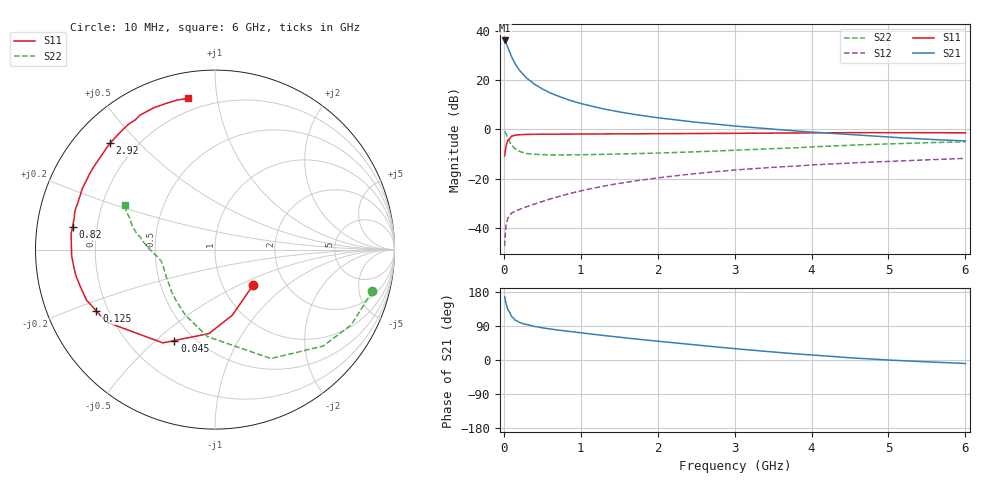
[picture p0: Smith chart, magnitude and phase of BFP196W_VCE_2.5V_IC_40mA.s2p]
! Infineon Technologies  Discrete & RF Semiconductors
! BFP196W
! VCE = 2.5 V,  IC =  40mA
! Common Emitter S-Parameters:  Jan 2016
# GHz  S  MA  R  50
!  f  S11  S21  S12  S22
! GHz  MAG  ANG  MAG  ANG  MAG  ANG  MAG  ANG
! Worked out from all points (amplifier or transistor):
!   210 points, 10 MHz to 6 GHz, reference 50 ohm
!   highest |S21| = 36.2 dB at 10 MHz (marker M1)
!   |S21| within 3 dB of that: start of sweep to 54.15 MHz
!   unconditionally stable (mu >= 1): 674.1 MHz to 3.351 GHz
!   at 185 MHz: K = 0.51, MSG = 28.9 dB, |S12| = -32.8 dB
!   at 1.52 GHz: K = 1.12, MAG = 12.4 dB, |S12| = -21.9 dB
!   at 6 GHz: K = 0.95, MSG = 3.6 dB, |S12| = -11.8 dB
!   S11 on the Smith chart (normalised r, x): 10 MHz: 1.38, -0.60; 45 MHz: 0.39, -0.58; 125 MHz: 0.16, -0.24; 820 MHz: 0.11, +0.08; 2.92 GHz: 0.11, +0.41; 6 GHz: 0.13, +0.83
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0.01  0.29 -43.4  64.81 167.1  0.0042 77.1  0.9075 -14.8
0.02  0.3768 -74.9  62.58 157.6  0.008 69.3  0.8669 -29.0
0.03  0.469 -94.1  57.86 148.3  0.0116 63.2  0.8075 -41.7
0.045  0.5549 -114.1  49.73 137.8  0.0144 52.7  0.7041 -56.9
0.05  0.5953 -119.2  47.47 133.6  0.0154 50.1  0.6827 -62.8
0.1  0.7273 -146.3  29.98 114.5  0.0198 39.3  0.4862 -95.1
0.125  0.7441 -152.6  25.5 110.5  0.0208 38.1  0.4367 -103.8
0.15  0.7696 -158.6  21.2 104.8  0.0219 37.0  0.3998 -114.5
0.2  0.7791 -165.2  16.16 99.6  0.0234 38.1  0.3586 -126.9
0.3  0.7921 -172.6  10.95 93.1  0.0267 42.7  0.3226 -141.8
0.4  0.7992 -177.4  8.282 88.5  0.0302 46.5  0.3118 -150.0
0.5  0.8003 179.0  6.67 84.8  0.0342 49.7  0.3067 -155.5
0.6  0.8021 176.3  5.562 81.8  0.0383 52.7  0.3039 -159.3
0.82  0.8033 170.9  4.102 76.1  0.0479 57.1  0.303 -164.1
1.02  0.8044 167.0  3.309 71.3  0.0569 58.6  0.3057 -167.0
1.4  0.8087 159.8  2.435 62.3  0.0751 59.4  0.3134 -170.4
2.02  0.8162 149.1  1.716 49.1  0.1042 57.4  0.3307 -174.6
2.92  0.8318 134.6  1.208 31.5  0.1456 50.8  0.3726 178.4
3.1  0.8357 131.8  1.14 28.3  0.1533 49.2  0.3828 176.7
4.1  0.8575 118.0  0.864 11.9  0.1926 40.9  0.4482 168.0
5.1  0.8585 107.5  0.683 -1.0  0.2269 32.8  0.5118 159.2
6  0.8558 100.2  0.583 -9.2  0.2573 26.4  0.5596 153.9
